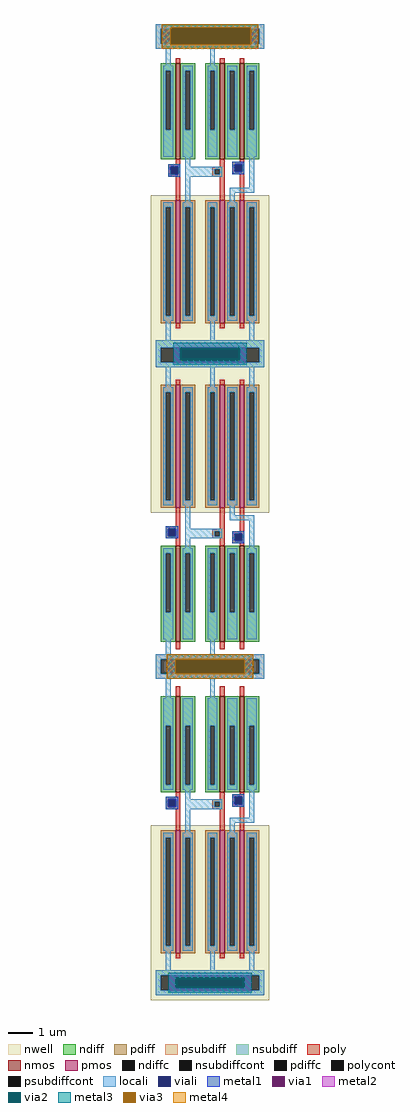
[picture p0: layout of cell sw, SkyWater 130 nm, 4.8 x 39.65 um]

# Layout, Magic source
magic
tech sky130A
<< nwell >>
rect -390 -710 90 580
rect -390 -2690 90 -1980
<< nmos >>
rect -290 725 -270 1115
rect -110 725 -90 1115
rect -30 725 -10 1115
rect -290 -1235 -270 -845
rect -110 -1235 -90 -845
rect -30 -1235 -10 -845
rect -290 -1845 -270 -1455
rect -110 -1845 -90 -1455
rect -30 -1845 -10 -1455
<< pmos >>
rect -290 60 -270 560
rect -110 60 -90 560
rect -30 60 -10 560
rect -290 -690 -270 -190
rect -110 -690 -90 -190
rect -30 -690 -10 -190
rect -290 -2500 -270 -2000
rect -110 -2500 -90 -2000
rect -30 -2500 -10 -2000
<< ndiff >>
rect -350 1085 -290 1115
rect -350 845 -330 1085
rect -310 845 -290 1085
rect -350 725 -290 845
rect -270 1085 -210 1115
rect -270 845 -250 1085
rect -230 845 -210 1085
rect -270 725 -210 845
rect -170 1085 -110 1115
rect -170 845 -150 1085
rect -130 845 -110 1085
rect -170 725 -110 845
rect -90 1085 -30 1115
rect -90 845 -70 1085
rect -50 845 -30 1085
rect -90 725 -30 845
rect -10 1085 50 1115
rect -10 845 10 1085
rect 30 845 50 1085
rect -10 725 50 845
rect -350 -875 -290 -845
rect -350 -1115 -330 -875
rect -310 -1115 -290 -875
rect -350 -1235 -290 -1115
rect -270 -875 -210 -845
rect -270 -1115 -250 -875
rect -230 -1115 -210 -875
rect -270 -1235 -210 -1115
rect -170 -875 -110 -845
rect -170 -1115 -150 -875
rect -130 -1115 -110 -875
rect -170 -1235 -110 -1115
rect -90 -875 -30 -845
rect -90 -1115 -70 -875
rect -50 -1115 -30 -875
rect -90 -1235 -30 -1115
rect -10 -875 50 -845
rect -10 -1115 10 -875
rect 30 -1115 50 -875
rect -10 -1235 50 -1115
rect -350 -1575 -290 -1455
rect -350 -1815 -330 -1575
rect -310 -1815 -290 -1575
rect -350 -1845 -290 -1815
rect -270 -1575 -210 -1455
rect -270 -1815 -250 -1575
rect -230 -1815 -210 -1575
rect -270 -1845 -210 -1815
rect -170 -1575 -110 -1455
rect -170 -1815 -150 -1575
rect -130 -1815 -110 -1575
rect -170 -1845 -110 -1815
rect -90 -1575 -30 -1455
rect -90 -1815 -70 -1575
rect -50 -1815 -30 -1575
rect -90 -1845 -30 -1815
rect -10 -1575 50 -1455
rect -10 -1815 10 -1575
rect 30 -1815 50 -1575
rect -10 -1845 50 -1815
<< pdiff >>
rect -350 530 -290 560
rect -350 90 -330 530
rect -310 90 -290 530
rect -350 60 -290 90
rect -270 530 -210 560
rect -270 90 -250 530
rect -230 90 -210 530
rect -270 60 -210 90
rect -170 530 -110 560
rect -170 90 -150 530
rect -130 90 -110 530
rect -170 60 -110 90
rect -90 530 -30 560
rect -90 90 -70 530
rect -50 90 -30 530
rect -90 60 -30 90
rect -10 530 50 560
rect -10 90 10 530
rect 30 90 50 530
rect -10 60 50 90
rect -350 -220 -290 -190
rect -350 -660 -330 -220
rect -310 -660 -290 -220
rect -350 -690 -290 -660
rect -270 -220 -210 -190
rect -270 -660 -250 -220
rect -230 -660 -210 -220
rect -270 -690 -210 -660
rect -170 -220 -110 -190
rect -170 -660 -150 -220
rect -130 -660 -110 -220
rect -170 -690 -110 -660
rect -90 -220 -30 -190
rect -90 -660 -70 -220
rect -50 -660 -30 -220
rect -90 -690 -30 -660
rect -10 -220 50 -190
rect -10 -660 10 -220
rect 30 -660 50 -220
rect -10 -690 50 -660
rect -350 -2030 -290 -2000
rect -350 -2470 -330 -2030
rect -310 -2470 -290 -2030
rect -350 -2500 -290 -2470
rect -270 -2030 -210 -2000
rect -270 -2470 -250 -2030
rect -230 -2470 -210 -2030
rect -270 -2500 -210 -2470
rect -170 -2030 -110 -2000
rect -170 -2470 -150 -2030
rect -130 -2470 -110 -2030
rect -170 -2500 -110 -2470
rect -90 -2030 -30 -2000
rect -90 -2470 -70 -2030
rect -50 -2470 -30 -2030
rect -90 -2500 -30 -2470
rect -10 -2030 50 -2000
rect -10 -2470 10 -2030
rect 30 -2470 50 -2030
rect -10 -2500 50 -2470
<< ndiffc >>
rect -330 845 -310 1085
rect -250 845 -230 1085
rect -150 845 -130 1085
rect -70 845 -50 1085
rect 10 845 30 1085
rect -330 -1115 -310 -875
rect -250 -1115 -230 -875
rect -150 -1115 -130 -875
rect -70 -1115 -50 -875
rect 10 -1115 30 -875
rect -330 -1815 -310 -1575
rect -250 -1815 -230 -1575
rect -150 -1815 -130 -1575
rect -70 -1815 -50 -1575
rect 10 -1815 30 -1575
<< pdiffc >>
rect -330 90 -310 530
rect -250 90 -230 530
rect -150 90 -130 530
rect -70 90 -50 530
rect 10 90 30 530
rect -330 -660 -310 -220
rect -250 -660 -230 -220
rect -150 -660 -130 -220
rect -70 -660 -50 -220
rect 10 -660 30 -220
rect -330 -2470 -310 -2030
rect -250 -2470 -230 -2030
rect -150 -2470 -130 -2030
rect -70 -2470 -50 -2030
rect 10 -2470 30 -2030
<< psubdiff >>
rect -370 1255 70 1275
rect -370 1195 -350 1255
rect 50 1195 70 1255
rect -370 1175 70 1195
rect -370 -1305 70 -1285
rect -370 -1365 -350 -1305
rect 50 -1365 70 -1305
rect -370 -1385 70 -1365
<< nsubdiff >>
rect -370 -40 70 -10
rect -370 -100 -350 -40
rect 50 -100 70 -40
rect -370 -120 70 -100
rect -370 -2590 70 -2570
rect -370 -2650 -350 -2590
rect 50 -2650 70 -2590
rect -370 -2670 70 -2650
<< psubdiffcont >>
rect -350 1195 50 1255
rect -350 -1365 50 -1305
<< nsubdiffcont >>
rect -350 -100 50 -40
rect -350 -2650 50 -2590
<< poly >>
rect -290 1115 -270 1135
rect -110 1115 -90 1135
rect -30 1115 -10 1135
rect -290 705 -270 725
rect -320 695 -270 705
rect -110 695 -90 725
rect -30 715 -10 725
rect -320 665 -310 695
rect -280 665 -270 695
rect -320 655 -270 665
rect -140 685 -90 695
rect -140 665 -130 685
rect -110 665 -90 685
rect -60 705 -10 715
rect -60 675 -50 705
rect -20 675 -10 705
rect -60 665 -10 675
rect -140 655 -90 665
rect -290 560 -270 655
rect -110 560 -90 655
rect -30 560 -10 665
rect -290 40 -270 60
rect -110 40 -90 60
rect -30 40 -10 60
rect -290 -190 -270 -170
rect -110 -190 -90 -170
rect -30 -190 -10 -170
rect -290 -765 -270 -690
rect -330 -775 -270 -765
rect -110 -775 -90 -690
rect -330 -805 -320 -775
rect -290 -805 -270 -775
rect -330 -815 -270 -805
rect -140 -785 -90 -775
rect -30 -785 -10 -690
rect -140 -805 -130 -785
rect -110 -805 -90 -785
rect -140 -815 -90 -805
rect -290 -845 -270 -815
rect -110 -845 -90 -815
rect -60 -795 -10 -785
rect -60 -825 -50 -795
rect -20 -825 -10 -795
rect -60 -835 -10 -825
rect -30 -845 -10 -835
rect -290 -1265 -270 -1235
rect -110 -1265 -90 -1235
rect -30 -1265 -10 -1235
rect -290 -1455 -270 -1415
rect -110 -1455 -90 -1415
rect -30 -1455 -10 -1415
rect -290 -1865 -270 -1845
rect -330 -1875 -270 -1865
rect -110 -1875 -90 -1845
rect -30 -1855 -10 -1845
rect -330 -1905 -320 -1875
rect -290 -1905 -270 -1875
rect -330 -1915 -270 -1905
rect -140 -1885 -90 -1875
rect -140 -1905 -130 -1885
rect -110 -1905 -90 -1885
rect -60 -1865 -10 -1855
rect -60 -1895 -50 -1865
rect -20 -1895 -10 -1865
rect -60 -1905 -10 -1895
rect -140 -1915 -90 -1905
rect -290 -2000 -270 -1915
rect -110 -2000 -90 -1915
rect -30 -2000 -10 -1905
rect -290 -2520 -270 -2500
rect -110 -2520 -90 -2500
rect -30 -2520 -10 -2500
<< polycont >>
rect -310 665 -280 695
rect -130 665 -110 685
rect -50 675 -20 705
rect -320 -805 -290 -775
rect -130 -805 -110 -785
rect -50 -825 -20 -795
rect -320 -1905 -290 -1875
rect -130 -1905 -110 -1885
rect -50 -1895 -20 -1865
<< locali >>
rect -370 1260 70 1275
rect -370 1255 -310 1260
rect 15 1255 70 1260
rect -370 1195 -350 1255
rect 50 1195 70 1255
rect -370 1190 -310 1195
rect 15 1190 70 1195
rect -370 1175 70 1190
rect -330 1105 -310 1175
rect -150 1105 -130 1175
rect -340 1085 -300 1105
rect -340 845 -330 1085
rect -310 845 -300 1085
rect -340 735 -300 845
rect -260 1085 -220 1105
rect -260 845 -250 1085
rect -230 845 -220 1085
rect -260 735 -220 845
rect -160 1085 -120 1105
rect -160 845 -150 1085
rect -130 845 -120 1085
rect -160 735 -120 845
rect -80 1085 -40 1105
rect -80 845 -70 1085
rect -50 845 -40 1085
rect -80 735 -40 845
rect 0 1085 40 1105
rect 0 845 10 1085
rect 30 845 40 1085
rect 0 735 40 845
rect -320 695 -270 705
rect -320 665 -310 695
rect -280 665 -270 695
rect -320 655 -270 665
rect -250 695 -230 735
rect -60 705 -10 715
rect -250 685 -100 695
rect -250 665 -130 685
rect -110 665 -100 685
rect -60 675 -50 705
rect -20 675 -10 705
rect -60 665 -10 675
rect -250 655 -100 665
rect -250 550 -230 655
rect 10 610 30 735
rect -70 590 30 610
rect -70 550 -50 590
rect -340 530 -300 550
rect -340 90 -330 530
rect -310 90 -300 530
rect -340 70 -300 90
rect -260 530 -220 550
rect -260 90 -250 530
rect -230 90 -220 530
rect -260 70 -220 90
rect -160 530 -120 550
rect -160 90 -150 530
rect -130 90 -120 530
rect -160 70 -120 90
rect -80 530 -40 550
rect -80 90 -70 530
rect -50 90 -40 530
rect -80 70 -40 90
rect 0 530 40 550
rect 0 90 10 530
rect 30 90 40 530
rect 0 70 40 90
rect -330 -10 -310 70
rect -150 -10 -130 70
rect 10 -10 30 70
rect -370 -40 70 -10
rect -370 -100 -350 -40
rect 50 -100 70 -40
rect -370 -120 70 -100
rect -330 -200 -310 -120
rect -150 -200 -130 -120
rect 10 -200 30 -120
rect -340 -220 -300 -200
rect -340 -660 -330 -220
rect -310 -660 -300 -220
rect -340 -680 -300 -660
rect -260 -220 -220 -200
rect -260 -660 -250 -220
rect -230 -660 -220 -220
rect -260 -680 -220 -660
rect -160 -220 -120 -200
rect -160 -660 -150 -220
rect -130 -660 -120 -220
rect -160 -680 -120 -660
rect -80 -220 -40 -200
rect -80 -660 -70 -220
rect -50 -660 -40 -220
rect -80 -680 -40 -660
rect 0 -220 40 -200
rect 0 -660 10 -220
rect 30 -660 40 -220
rect 0 -680 40 -660
rect -330 -775 -280 -765
rect -330 -805 -320 -775
rect -290 -805 -280 -775
rect -330 -815 -280 -805
rect -250 -775 -230 -680
rect -70 -720 -50 -680
rect -70 -740 30 -720
rect -250 -785 -100 -775
rect -250 -805 -130 -785
rect -110 -805 -100 -785
rect -250 -815 -100 -805
rect -60 -795 -10 -785
rect -250 -855 -230 -815
rect -60 -825 -50 -795
rect -20 -825 -10 -795
rect -60 -835 -10 -825
rect 10 -855 30 -740
rect -340 -875 -300 -855
rect -340 -1115 -330 -875
rect -310 -1115 -300 -875
rect -340 -1225 -300 -1115
rect -260 -875 -220 -855
rect -260 -1115 -250 -875
rect -230 -1115 -220 -875
rect -260 -1225 -220 -1115
rect -160 -875 -120 -855
rect -160 -1115 -150 -875
rect -130 -1115 -120 -875
rect -160 -1225 -120 -1115
rect -80 -875 -40 -855
rect -80 -1115 -70 -875
rect -50 -1115 -40 -875
rect -80 -1225 -40 -1115
rect 0 -875 40 -855
rect 0 -1115 10 -875
rect 30 -1115 40 -875
rect 0 -1225 40 -1115
rect -330 -1285 -310 -1225
rect -150 -1285 -130 -1225
rect -370 -1305 70 -1285
rect -370 -1365 -350 -1305
rect 50 -1365 70 -1305
rect -370 -1385 70 -1365
rect -330 -1465 -310 -1385
rect -150 -1465 -130 -1385
rect -340 -1575 -300 -1465
rect -340 -1815 -330 -1575
rect -310 -1815 -300 -1575
rect -340 -1835 -300 -1815
rect -260 -1575 -220 -1465
rect -260 -1815 -250 -1575
rect -230 -1815 -220 -1575
rect -260 -1835 -220 -1815
rect -160 -1575 -120 -1465
rect -160 -1815 -150 -1575
rect -130 -1815 -120 -1575
rect -160 -1835 -120 -1815
rect -80 -1575 -40 -1465
rect -80 -1815 -70 -1575
rect -50 -1815 -40 -1575
rect -80 -1835 -40 -1815
rect 0 -1575 40 -1465
rect 0 -1815 10 -1575
rect 30 -1815 40 -1575
rect 0 -1835 40 -1815
rect -330 -1875 -280 -1865
rect -330 -1905 -320 -1875
rect -290 -1905 -280 -1875
rect -330 -1915 -280 -1905
rect -250 -1875 -230 -1835
rect -60 -1865 -10 -1855
rect -250 -1885 -100 -1875
rect -250 -1905 -130 -1885
rect -110 -1905 -100 -1885
rect -60 -1895 -50 -1865
rect -20 -1895 -10 -1865
rect -60 -1905 -10 -1895
rect -250 -1915 -100 -1905
rect -250 -2010 -230 -1915
rect 10 -1950 30 -1835
rect -70 -1970 30 -1950
rect -70 -2010 -50 -1970
rect -340 -2030 -300 -2010
rect -340 -2470 -330 -2030
rect -310 -2470 -300 -2030
rect -340 -2490 -300 -2470
rect -260 -2030 -220 -2010
rect -260 -2470 -250 -2030
rect -230 -2470 -220 -2030
rect -260 -2490 -220 -2470
rect -160 -2030 -120 -2010
rect -160 -2470 -150 -2030
rect -130 -2470 -120 -2030
rect -160 -2490 -120 -2470
rect -80 -2030 -40 -2010
rect -80 -2470 -70 -2030
rect -50 -2470 -40 -2030
rect -80 -2490 -40 -2470
rect 0 -2030 40 -2010
rect 0 -2470 10 -2030
rect 30 -2470 40 -2030
rect 0 -2490 40 -2470
rect -330 -2570 -310 -2490
rect -150 -2570 -130 -2490
rect 10 -2570 30 -2490
rect -370 -2590 70 -2570
rect -370 -2650 -350 -2590
rect 50 -2650 70 -2590
rect -370 -2670 70 -2650
<< viali >>
rect -310 1255 15 1260
rect -310 1195 15 1255
rect -310 1190 15 1195
rect -310 665 -280 695
rect -50 675 -20 705
rect -270 -90 -30 -40
rect -320 -805 -290 -775
rect -50 -825 -20 -795
rect -290 -1365 -10 -1305
rect -320 -1905 -290 -1875
rect -50 -1895 -20 -1865
rect -290 -2640 -10 -2600
<< metal1 >>
rect -345 1260 45 1270
rect -345 1190 -310 1260
rect 15 1190 45 1260
rect -345 1180 45 1190
rect -60 705 -10 715
rect -320 695 -270 705
rect -320 665 -310 695
rect -280 665 -270 695
rect -60 675 -50 705
rect -20 675 -10 705
rect -60 665 -10 675
rect -320 655 -270 665
rect -300 -40 0 -20
rect -300 -90 -270 -40
rect -30 -90 0 -40
rect -300 -110 0 -90
rect -330 -775 -280 -765
rect -330 -805 -320 -775
rect -290 -805 -280 -775
rect -330 -815 -280 -805
rect -60 -795 -10 -785
rect -60 -825 -50 -795
rect -20 -825 -10 -795
rect -60 -835 -10 -825
rect -325 -1305 25 -1285
rect -325 -1365 -290 -1305
rect -10 -1365 25 -1305
rect -325 -1385 25 -1365
rect -60 -1865 -10 -1855
rect -330 -1875 -280 -1865
rect -330 -1905 -320 -1875
rect -290 -1905 -280 -1875
rect -60 -1895 -50 -1865
rect -20 -1895 -10 -1865
rect -60 -1905 -10 -1895
rect -330 -1915 -280 -1905
rect -320 -2600 20 -2580
rect -320 -2640 -290 -2600
rect -10 -2640 20 -2600
rect -320 -2660 20 -2640
<< via1 >>
rect -310 1190 15 1260
rect -270 -90 -30 -40
rect -290 -1365 -10 -1305
rect -290 -2640 -10 -2600
<< metal2 >>
rect -345 1260 45 1270
rect -345 1190 -310 1260
rect 15 1190 45 1260
rect -345 1180 45 1190
rect -300 -40 0 -20
rect -300 -90 -270 -40
rect -30 -90 0 -40
rect -300 -110 0 -90
rect -325 -1305 25 -1285
rect -325 -1365 -290 -1305
rect -10 -1365 25 -1305
rect -325 -1385 25 -1365
rect -320 -2600 20 -2580
rect -320 -2640 -290 -2600
rect -10 -2640 20 -2600
rect -320 -2660 20 -2640
<< via2 >>
rect -310 1190 15 1260
rect -270 -90 -30 -40
rect -290 -1365 -10 -1305
rect -290 -2640 -10 -2600
<< metal3 >>
rect -345 1260 45 1270
rect -345 1190 -310 1260
rect 15 1190 45 1260
rect -345 1180 45 1190
rect -300 -40 0 -20
rect -300 -90 -270 -40
rect -30 -90 0 -40
rect -300 -110 0 -90
rect -325 -1305 25 -1285
rect -325 -1365 -290 -1305
rect -10 -1365 25 -1305
rect -325 -1385 25 -1365
rect -320 -2600 20 -2580
rect -320 -2640 -290 -2600
rect -10 -2640 20 -2600
rect -320 -2660 20 -2640
<< via3 >>
rect -310 1190 15 1260
rect -290 -1365 -10 -1305
<< metal4 >>
rect -345 1260 45 1275
rect -345 1190 -310 1260
rect 15 1190 45 1260
rect -345 1175 45 1190
rect -325 -1305 25 -1285
rect -325 -1365 -290 -1305
rect -10 -1365 25 -1305
rect -325 -1385 25 -1365
<< end >>
